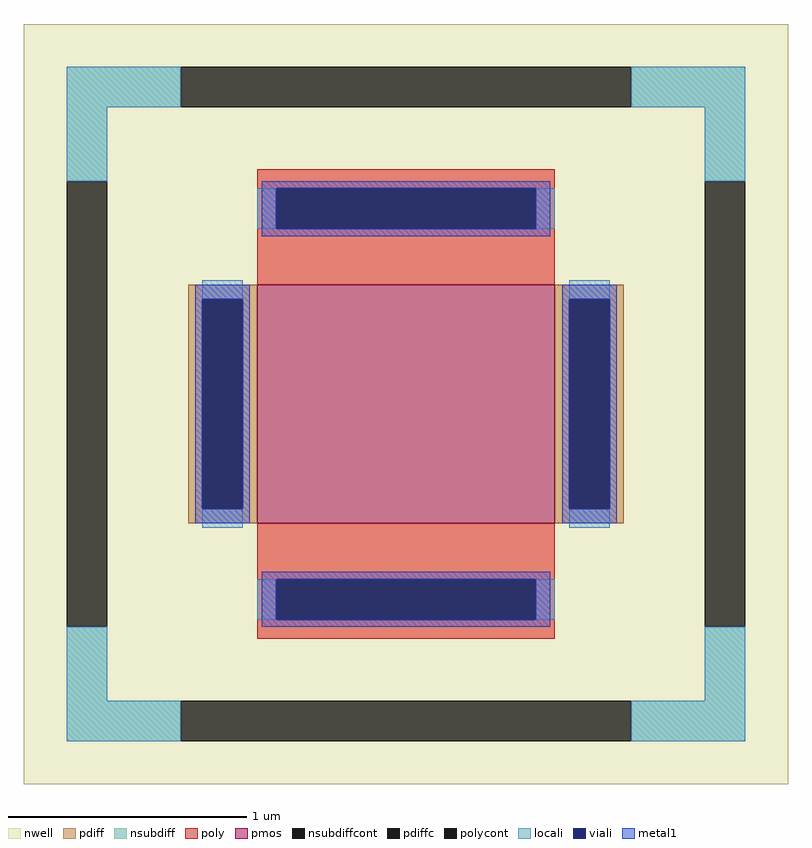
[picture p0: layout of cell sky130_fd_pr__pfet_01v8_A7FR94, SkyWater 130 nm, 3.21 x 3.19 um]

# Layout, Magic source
magic
tech sky130A
magscale 1 2
<< nwell >>
rect -321 -319 321 319
<< pmos >>
rect -125 -100 125 100
<< pdiff >>
rect -183 88 -125 100
rect -183 -88 -171 88
rect -137 -88 -125 88
rect -183 -100 -125 -88
rect 125 88 183 100
rect 125 -88 137 88
rect 171 -88 183 88
rect 125 -100 183 -88
<< pdiffc >>
rect -171 -88 -137 88
rect 137 -88 171 88
<< nsubdiff >>
rect -285 249 -189 283
rect 189 249 285 283
rect -285 187 -251 249
rect 251 187 285 249
rect -285 -249 -251 -187
rect 251 -249 285 -187
rect -285 -283 -189 -249
rect 189 -283 285 -249
<< nsubdiffcont >>
rect -189 249 189 283
rect -285 -187 -251 187
rect 251 -187 285 187
rect -189 -283 189 -249
<< poly >>
rect -125 181 125 197
rect -125 147 -109 181
rect 109 147 125 181
rect -125 100 125 147
rect -125 -147 125 -100
rect -125 -181 -109 -147
rect 109 -181 125 -147
rect -125 -197 125 -181
<< polycont >>
rect -109 147 109 181
rect -109 -181 109 -147
<< locali >>
rect -285 249 -189 283
rect 189 249 285 283
rect -285 187 -251 249
rect 251 187 285 249
rect -125 147 -109 181
rect 109 147 125 181
rect -171 88 -137 104
rect -171 -104 -137 -88
rect 137 88 171 104
rect 137 -104 171 -88
rect -125 -181 -109 -147
rect 109 -181 125 -147
rect -285 -249 -251 -187
rect 251 -249 285 -187
rect -285 -283 -189 -249
rect 189 -283 285 -249
<< viali >>
rect -109 147 109 181
rect -171 -88 -137 88
rect 137 -88 171 88
rect -109 -181 109 -147
<< metal1 >>
rect -121 181 121 187
rect -121 147 -109 181
rect 109 147 121 181
rect -121 141 121 147
rect -177 88 -131 100
rect -177 -88 -171 88
rect -137 -88 -131 88
rect -177 -100 -131 -88
rect 131 88 177 100
rect 131 -88 137 88
rect 171 -88 177 88
rect 131 -100 177 -88
rect -121 -147 121 -141
rect -121 -181 -109 -147
rect 109 -181 121 -147
rect -121 -187 121 -181
<< properties >>
string FIXED_BBOX -268 -266 268 266
string gencell sky130_fd_pr__pfet_01v8
string library sky130
string parameters w 1 l 1.25 m 1 nf 1 diffcov 100 polycov 100 guard 1 glc 1 grc 1 gtc 1 gbc 1 tbcov 100 rlcov 100 topc 1 botc 1 poverlap 0 doverlap 1 lmin 0.15 wmin 0.42 compatible {sky130_fd_pr__pfet_01v8  sky130_fd_pr__pfet_01v8_lvt sky130_fd_pr__pfet_01v8_hvt  sky130_fd_pr__pfet_g5v0d10v5} full_metal 1 viasrc 100 viadrn 100 viagate 100 viagb 0 viagr 0 viagl 0 viagt 0
<< end >>
